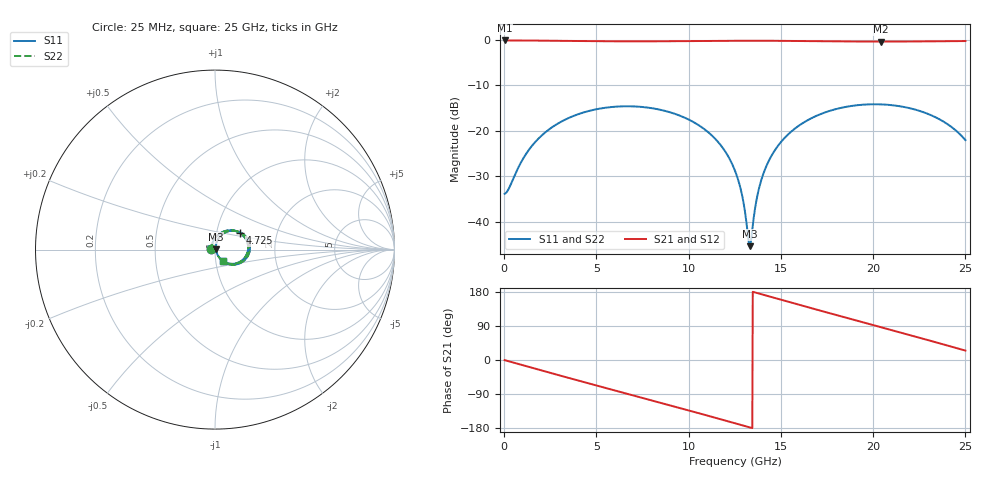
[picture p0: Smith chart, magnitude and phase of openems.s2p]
! thru_BV_vna_clk_w5_in: 2×thru F.Cu, 6 mm
! stackup: as the board case
! ports: 1 near, 2 far
! openEMS 0.37.0, staircase, fine mesh (dfine 0.035 mm), 663090 cells
# Hz S RI R 50
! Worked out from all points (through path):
!   1000 points, 25 MHz to 25 GHz, reference 50 ohm
!   highest |S21| = -0.18 dB at 25 MHz (marker M1); lowest = -0.4 dB at 20.4 GHz (marker M2)
!   group delay of S21, straight-line fit = 37.2 ps
!   lowest |S11| = -45.3 dB at 13.32 GHz (marker M3), VSWR 1.01, Z = 50.5 + j0.115 ohm
!   |S11| at or under -10 dB: start of sweep to end of sweep
!   |S22| runs from -45.3 to -14.2 dB; largest |S21 - S12| = 0
!   S11 on the Smith chart (normalised r, x): 25 MHz: 0.96, +0.00; 4.725 GHz: 1.30, +0.25; 25 GHz: 1.08, -0.14
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2.5e7  -0.0203 0.00123  0.9795 -0.00583  0.9795 -0.00583  -0.0203 0.00123
1.075e9  -0.00778 0.0506  0.9464 -0.2473  0.9464 -0.2473  -0.00778 0.0506
1.8e9  0.0134 0.0786  0.8882 -0.4045  0.8882 -0.4045  0.0134 0.0786
4.2e9  0.1183 0.1023  0.5305 -0.8061  0.5305 -0.8061  0.1183 0.1023
4.725e9  0.1397 0.0921  0.4281 -0.8623  0.4281 -0.8623  0.1397 0.0921
6.525e9  0.1833 0.0286  0.046 -0.9566  0.046 -0.9566  0.1833 0.0286
8.35e9  0.1658 -0.0449  -0.3464 -0.894  -0.3464 -0.894  0.1658 -0.0449
1.0975e10  0.0657 -0.0747  -0.8031 -0.5397  -0.8031 -0.5397  0.0657 -0.0747
1.1875e10  0.0329 -0.0546  -0.9014 -0.3595  -0.9014 -0.3595  0.0329 -0.0546
1.2525e10  0.0158 -0.0322  -0.9473 -0.2171  -0.9473 -0.2171  0.0158 -0.0322
1.2875e10  0.00962 -0.0181  -0.9625 -0.1377  -0.9625 -0.1377  0.00962 -0.0181
1.3225e10  0.00589 -0.00322  -0.9709 -0.0571  -0.9709 -0.0571  0.00589 -0.00322
1.3325e10  0.00528 0.00114  -0.972 -0.0339  -0.972 -0.0339  0.00528 0.00114
1.3825e10  0.0054 0.0232  -0.9689 0.0818  -0.9689 0.0818  0.0054 0.0232
1.4375e10  0.0115 0.0467  -0.949 0.2076  -0.949 0.2076  0.0115 0.0467
1.5325e10  0.0355 0.081  -0.876 0.4137  -0.876 0.4137  0.0355 0.081
1.6675e10  0.0893 0.1051  -0.6979 0.6635  -0.6979 0.6635  0.0893 0.1051
1.8575e10  0.1659 0.0785  -0.3428 0.8913  -0.3428 0.8913  0.1659 0.0785
2.04e10  0.1946 0.00655  0.0524 0.9503  0.0524 0.9503  0.1946 0.00655
2.085e10  0.1918 -0.0129  0.151 0.9399  0.151 0.9399  0.1918 -0.0129
2.32e10  0.1212 -0.0819  0.6232 0.728  0.6232 0.728  0.1212 -0.0819
2.5e10  0.0435 -0.0659  0.8754 0.4057  0.8754 0.4057  0.0435 -0.0659
